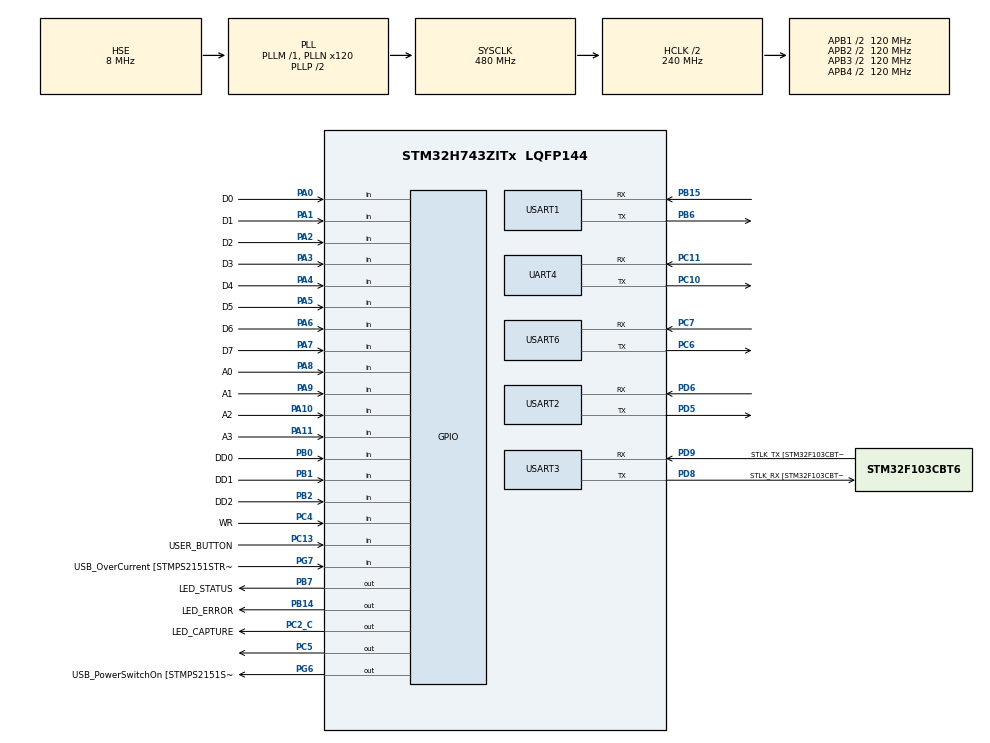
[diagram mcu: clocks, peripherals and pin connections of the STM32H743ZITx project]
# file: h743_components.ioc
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Dma.Request0=USART3_TX
Dma.Request1=USART3_RX
Dma.Request2=USART1_TX
Dma.Request3=USART1_RX
Dma.Request4=USART2_TX
Dma.Request5=USART2_RX
Dma.Request6=UART4_TX
Dma.Request7=UART4_RX
Dma.Request8=USART6_TX
Dma.Request9=USART6_RX
Dma.UART4_RX.7.Direction=DMA_PERIPH_TO_MEMORY
Dma.UART4_RX.7.EventEnable=DISABLE
Dma.UART4_RX.7.FIFOMode=DMA_FIFOMODE_DISABLE
Dma.UART4_RX.7.Instance=DMA1_Stream7
Dma.UART4_RX.7.MemDataAlignment=DMA_MDATAALIGN_BYTE
Dma.UART4_RX.7.MemInc=DMA_MINC_ENABLE
Dma.UART4_RX.7.Mode=DMA_CIRCULAR
Dma.UART4_RX.7.PeriphDataAlignment=DMA_PDATAALIGN_BYTE
Dma.UART4_RX.7.PeriphInc=DMA_PINC_DISABLE
Dma.UART4_RX.7.Polarity=HAL_DMAMUX_REQ_GEN_RISING
Dma.UART4_RX.7.Priority=DMA_PRIORITY_LOW
Dma.UART4_RX.7.RequestNumber=1
Dma.UART4_RX.7.SignalID=NONE
Dma.UART4_RX.7.SyncEnable=DISABLE
Dma.UART4_RX.7.SyncPolarity=HAL_DMAMUX_SYNC_NO_EVENT
Dma.UART4_RX.7.SyncRequestNumber=1
Dma.UART4_RX.7.SyncSignalID=NONE
Dma.UART4_TX.6.Direction=DMA_MEMORY_TO_PERIPH
Dma.UART4_TX.6.EventEnable=DISABLE
Dma.UART4_TX.6.FIFOMode=DMA_FIFOMODE_DISABLE
Dma.UART4_TX.6.Instance=DMA1_Stream6
Dma.UART4_TX.6.MemDataAlignment=DMA_MDATAALIGN_BYTE
Dma.UART4_TX.6.MemInc=DMA_MINC_ENABLE
Dma.UART4_TX.6.Mode=DMA_NORMAL
Dma.UART4_TX.6.PeriphDataAlignment=DMA_PDATAALIGN_BYTE
Dma.UART4_TX.6.PeriphInc=DMA_PINC_DISABLE
Dma.UART4_TX.6.Polarity=HAL_DMAMUX_REQ_GEN_RISING
Dma.UART4_TX.6.Priority=DMA_PRIORITY_LOW
Dma.UART4_TX.6.RequestNumber=1
Dma.UART4_TX.6.SignalID=NONE
Dma.UART4_TX.6.SyncEnable=DISABLE
Dma.UART4_TX.6.SyncPolarity=HAL_DMAMUX_SYNC_NO_EVENT
Dma.UART4_TX.6.SyncRequestNumber=1
Dma.UART4_TX.6.SyncSignalID=NONE
Dma.USART1_RX.3.Direction=DMA_PERIPH_TO_MEMORY
Dma.USART1_RX.3.EventEnable=DISABLE
Dma.USART1_RX.3.FIFOMode=DMA_FIFOMODE_DISABLE
Dma.USART1_RX.3.Instance=DMA1_Stream2
Dma.USART1_RX.3.MemDataAlignment=DMA_MDATAALIGN_BYTE
Dma.USART1_RX.3.MemInc=DMA_MINC_ENABLE
Dma.USART1_RX.3.Mode=DMA_CIRCULAR
Dma.USART1_RX.3.PeriphDataAlignment=DMA_PDATAALIGN_BYTE
Dma.USART1_RX.3.PeriphInc=DMA_PINC_DISABLE
Dma.USART1_RX.3.Polarity=HAL_DMAMUX_REQ_GEN_RISING
Dma.USART1_RX.3.Priority=DMA_PRIORITY_LOW
Dma.USART1_RX.3.RequestNumber=1
Dma.USART1_RX.3.SignalID=NONE
Dma.USART1_RX.3.SyncEnable=DISABLE
Dma.USART1_RX.3.SyncPolarity=HAL_DMAMUX_SYNC_NO_EVENT
Dma.USART1_RX.3.SyncRequestNumber=1
Dma.USART1_RX.3.SyncSignalID=NONE
Dma.USART1_TX.2.Direction=DMA_MEMORY_TO_PERIPH
Dma.USART1_TX.2.EventEnable=DISABLE
Dma.USART1_TX.2.FIFOMode=DMA_FIFOMODE_DISABLE
Dma.USART1_TX.2.Instance=DMA1_Stream1
Dma.USART1_TX.2.MemDataAlignment=DMA_MDATAALIGN_BYTE
Dma.USART1_TX.2.MemInc=DMA_MINC_ENABLE
Dma.USART1_TX.2.Mode=DMA_NORMAL
Dma.USART1_TX.2.PeriphDataAlignment=DMA_PDATAALIGN_BYTE
Dma.USART1_TX.2.PeriphInc=DMA_PINC_DISABLE
Dma.USART1_TX.2.Polarity=HAL_DMAMUX_REQ_GEN_RISING
Dma.USART1_TX.2.Priority=DMA_PRIORITY_LOW
Dma.USART1_TX.2.RequestNumber=1
Dma.USART1_TX.2.SignalID=NONE
Dma.USART1_TX.2.SyncEnable=DISABLE
Dma.USART1_TX.2.SyncPolarity=HAL_DMAMUX_SYNC_NO_EVENT
Dma.USART1_TX.2.SyncRequestNumber=1
Dma.USART1_TX.2.SyncSignalID=NONE
Dma.USART2_RX.5.Direction=DMA_PERIPH_TO_MEMORY
Dma.USART2_RX.5.EventEnable=DISABLE
Dma.USART2_RX.5.FIFOMode=DMA_FIFOMODE_DISABLE
Dma.USART2_RX.5.Instance=DMA1_Stream5
Dma.USART2_RX.5.MemDataAlignment=DMA_MDATAALIGN_BYTE
Dma.USART2_RX.5.MemInc=DMA_MINC_ENABLE
Dma.USART2_RX.5.Mode=DMA_CIRCULAR
Dma.USART2_RX.5.PeriphDataAlignment=DMA_PDATAALIGN_BYTE
Dma.USART2_RX.5.PeriphInc=DMA_PINC_DISABLE
Dma.USART2_RX.5.Polarity=HAL_DMAMUX_REQ_GEN_RISING
Dma.USART2_RX.5.Priority=DMA_PRIORITY_LOW
Dma.USART2_RX.5.RequestNumber=1
Dma.USART2_RX.5.SignalID=NONE
Dma.USART2_RX.5.SyncEnable=DISABLE
Dma.USART2_RX.5.SyncPolarity=HAL_DMAMUX_SYNC_NO_EVENT
Dma.USART2_RX.5.SyncRequestNumber=1
Dma.USART2_RX.5.SyncSignalID=NONE
Dma.USART2_TX.4.Direction=DMA_MEMORY_TO_PERIPH
Dma.USART2_TX.4.EventEnable=DISABLE
Dma.USART2_TX.4.FIFOMode=DMA_FIFOMODE_DISABLE
Dma.USART2_TX.4.Instance=DMA1_Stream4
Dma.USART2_TX.4.MemDataAlignment=DMA_MDATAALIGN_BYTE
Dma.USART2_TX.4.MemInc=DMA_MINC_ENABLE
Dma.USART2_TX.4.Mode=DMA_NORMAL
Dma.USART2_TX.4.PeriphDataAlignment=DMA_PDATAALIGN_BYTE
Dma.USART2_TX.4.PeriphInc=DMA_PINC_DISABLE
Dma.USART2_TX.4.Polarity=HAL_DMAMUX_REQ_GEN_RISING
Dma.USART2_TX.4.Priority=DMA_PRIORITY_LOW
Dma.USART2_TX.4.RequestNumber=1
Dma.USART2_TX.4.SignalID=NONE
Dma.USART2_TX.4.SyncEnable=DISABLE
Dma.USART2_TX.4.SyncPolarity=HAL_DMAMUX_SYNC_NO_EVENT
Dma.USART2_TX.4.SyncRequestNumber=1
Dma.USART2_TX.4.SyncSignalID=NONE
Dma.USART3_RX.1.Direction=DMA_PERIPH_TO_MEMORY
Dma.USART3_RX.1.EventEnable=DISABLE
Dma.USART3_RX.1.FIFOMode=DMA_FIFOMODE_DISABLE
Dma.USART3_RX.1.Instance=DMA1_Stream0
Dma.USART3_RX.1.MemDataAlignment=DMA_MDATAALIGN_BYTE
Dma.USART3_RX.1.MemInc=DMA_MINC_ENABLE
Dma.USART3_RX.1.Mode=DMA_CIRCULAR
Dma.USART3_RX.1.PeriphDataAlignment=DMA_PDATAALIGN_BYTE
Dma.USART3_RX.1.PeriphInc=DMA_PINC_DISABLE
Dma.USART3_RX.1.Polarity=HAL_DMAMUX_REQ_GEN_RISING
Dma.USART3_RX.1.Priority=DMA_PRIORITY_LOW
Dma.USART3_RX.1.RequestNumber=1
Dma.USART3_RX.1.SignalID=NONE
Dma.USART3_RX.1.SyncEnable=DISABLE
Dma.USART3_RX.1.SyncPolarity=HAL_DMAMUX_SYNC_NO_EVENT
Dma.USART3_RX.1.SyncRequestNumber=1
Dma.USART3_RX.1.SyncSignalID=NONE
Dma.USART3_TX.0.Direction=DMA_MEMORY_TO_PERIPH
Dma.USART3_TX.0.EventEnable=DISABLE
Dma.USART3_TX.0.FIFOMode=DMA_FIFOMODE_DISABLE
Dma.USART3_TX.0.Instance=DMA1_Stream3
Dma.USART3_TX.0.MemDataAlignment=DMA_MDATAALIGN_BYTE
Dma.USART3_TX.0.MemInc=DMA_MINC_ENABLE
Dma.USART3_TX.0.Mode=DMA_NORMAL
Dma.USART3_TX.0.PeriphDataAlignment=DMA_PDATAALIGN_BYTE
Dma.USART3_TX.0.PeriphInc=DMA_PINC_DISABLE
Dma.USART3_TX.0.Polarity=HAL_DMAMUX_REQ_GEN_RISING
Dma.USART3_TX.0.Priority=DMA_PRIORITY_LOW
Dma.USART3_TX.0.RequestNumber=1
Dma.USART3_TX.0.SignalID=NONE
Dma.USART3_TX.0.SyncEnable=DISABLE
Dma.USART3_TX.0.SyncPolarity=HAL_DMAMUX_SYNC_NO_EVENT
Dma.USART3_TX.0.SyncRequestNumber=1
Dma.USART3_TX.0.SyncSignalID=NONE
Dma.USART6_RX.9.Direction=DMA_PERIPH_TO_MEMORY
Dma.USART6_RX.9.EventEnable=DISABLE
Dma.USART6_RX.9.FIFOMode=DMA_FIFOMODE_DISABLE
Dma.USART6_RX.9.Instance=DMA2_Stream1
Dma.USART6_RX.9.MemDataAlignment=DMA_MDATAALIGN_BYTE
Dma.USART6_RX.9.MemInc=DMA_MINC_ENABLE
Dma.USART6_RX.9.Mode=DMA_CIRCULAR
Dma.USART6_RX.9.PeriphDataAlignment=DMA_PDATAALIGN_BYTE
Dma.USART6_RX.9.PeriphInc=DMA_PINC_DISABLE
Dma.USART6_RX.9.Polarity=HAL_DMAMUX_REQ_GEN_RISING
Dma.USART6_RX.9.Priority=DMA_PRIORITY_LOW
Dma.USART6_RX.9.RequestNumber=1
Dma.USART6_RX.9.SignalID=NONE
Dma.USART6_RX.9.SyncEnable=DISABLE
Dma.USART6_RX.9.SyncPolarity=HAL_DMAMUX_SYNC_NO_EVENT
Dma.USART6_RX.9.SyncRequestNumber=1
Dma.USART6_RX.9.SyncSignalID=NONE
Dma.USART6_TX.8.Direction=DMA_MEMORY_TO_PERIPH
Dma.USART6_TX.8.EventEnable=DISABLE
Dma.USART6_TX.8.FIFOMode=DMA_FIFOMODE_DISABLE
Dma.USART6_TX.8.Instance=DMA2_Stream0
Dma.USART6_TX.8.MemDataAlignment=DMA_MDATAALIGN_BYTE
Dma.USART6_TX.8.MemInc=DMA_MINC_ENABLE
Dma.USART6_TX.8.Mode=DMA_NORMAL
Dma.USART6_TX.8.PeriphDataAlignment=DMA_PDATAALIGN_BYTE
Dma.USART6_TX.8.PeriphInc=DMA_PINC_DISABLE
Dma.USART6_TX.8.Polarity=HAL_DMAMUX_REQ_GEN_RISING
Dma.USART6_TX.8.Priority=DMA_PRIORITY_LOW
Dma.USART6_TX.8.RequestNumber=1
Dma.USART6_TX.8.SignalID=NONE
Dma.USART6_TX.8.SyncEnable=DISABLE
Dma.USART6_TX.8.SyncPolarity=HAL_DMAMUX_SYNC_NO_EVENT
Dma.USART6_TX.8.SyncRequestNumber=1
Dma.USART6_TX.8.SyncSignalID=NONE
Mcu.Family=STM32H7
Mcu.Name=STM32H743ZITx
Mcu.Package=LQFP144
NVIC.DMA1_Stream0_IRQn=true\:0\:0\:false\:false\:true\:false\:true
NVIC.DMA1_Stream1_IRQn=true\:0\:0\:false\:false\:true\:false\:true
NVIC.DMA1_Stream2_IRQn=true\:0\:0\:false\:false\:true\:false\:true
NVIC.DMA1_Stream3_IRQn=true\:0\:0\:false\:false\:true\:false\:true
NVIC.DMA1_Stream4_IRQn=true\:0\:0\:false\:false\:true\:false\:true
NVIC.DMA1_Stream5_IRQn=true\:0\:0\:false\:false\:true\:false\:true
NVIC.DMA1_Stream6_IRQn=true\:0\:0\:false\:false\:true\:false\:true
NVIC.DMA1_Stream7_IRQn=true\:0\:0\:false\:false\:true\:false\:true
NVIC.DMA2_Stream0_IRQn=true\:0\:0\:false\:false\:true\:false\:true
NVIC.DMA2_Stream1_IRQn=true\:0\:0\:false\:false\:true\:false\:true
NVIC.PriorityGroup=NVIC_PRIORITYGROUP_4
NVIC.UART4_IRQn=true\:0\:0\:false\:false\:true\:true\:true
NVIC.USART1_IRQn=true\:0\:0\:false\:false\:true\:true\:true
NVIC.USART2_IRQn=true\:0\:0\:false\:false\:true\:true\:true
NVIC.USART3_IRQn=true\:0\:0\:false\:false\:true\:true\:true
NVIC.USART6_IRQn=true\:0\:0\:false\:false\:true\:true\:true
PA0.GPIO_Label=D0
PA0.GPIO_PuPd=GPIO_NOPULL
PA0.Signal=GPIO_Input
PA1.GPIO_Label=D1
PA1.GPIO_PuPd=GPIO_NOPULL
PA1.Signal=GPIO_Input
PA10.GPIO_Label=A2
PA10.Signal=GPIO_Input
PA11.GPIO_Label=A3
PA11.Signal=GPIO_Input
PA12.GPIO_Label=USB_DP
PA12.Signal=USB_OTG_FS_DP
PA2.GPIO_Label=D2
PA2.GPIO_PuPd=GPIO_NOPULL
PA2.Signal=GPIO_Input
PA3.GPIO_Label=D3
PA3.Signal=GPIO_Input
PA4.GPIO_Label=D4
PA4.Signal=GPIO_Input
PA5.GPIO_Label=D5
PA5.Signal=GPIO_Input
PA6.GPIO_Label=D6
PA6.Signal=GPIO_Input
PA7.GPIO_Label=D7
PA7.Signal=GPIO_Input
PA8.GPIO_Label=A0
PA8.Signal=GPIO_Input
PA9.GPIO_Label=A1
PA9.Signal=GPIO_Input
PB0.GPIO_Label=DD0
PB0.GPIO_PuPd=GPIO_PULLUP
PB0.Signal=GPIO_Input
PB1.GPIO_Label=DD1
PB1.GPIO_PuPd=GPIO_PULLUP
PB1.Signal=GPIO_Input
PB13.GPIO_Label=RMII_TXD1
PB13.Signal=ETH_TXD1
PB14.GPIO_Label=LED_ERROR
PB14.GPIO_Speed=GPIO_SPEED_FREQ_VERY_HIGH
PB14.Signal=GPIO_Output
PB15.Mode=Asynchronous
PB15.Signal=USART1_RX
PB2.GPIO_Label=DD2
PB2.GPIO_PuPd=GPIO_PULLUP
PB2.Signal=GPIO_Input
PB6.Mode=Asynchronous
PB6.Signal=USART1_TX
PB7.GPIO_FM7=SYSCFG_PMCR_I2C_PB7_FMP
PB7.GPIO_Label=LED_STATUS
PB7.GPIO_Speed=GPIO_SPEED_FREQ_VERY_HIGH
PB7.Signal=GPIO_Output
PC1.GPIO_Label=RMII_MDC
PC1.Signal=ETH_MDC
PC10.Mode=Asynchronous
PC10.Signal=UART4_TX
PC11.Mode=Asynchronous
PC11.Signal=UART4_RX
PC13.GPIO_Label=USER_BUTTON
PC13.Signal=GPIO_Input
PC14-OSC32_IN\ (OSC32_IN).Mode=LSE-External-Oscillator
PC14-OSC32_IN\ (OSC32_IN).Signal=RCC_OSC32_IN
PC15-OSC32_OUT\ (OSC32_OUT).Mode=LSE-External-Oscillator
PC15-OSC32_OUT\ (OSC32_OUT).Signal=RCC_OSC32_OUT
PC2_C.GPIO_Label=LED_CAPTURE
PC2_C.GPIO_Speed=GPIO_SPEED_FREQ_VERY_HIGH
PC2_C.Signal=GPIO_Output
PC4.GPIO_Label=WR
PC4.GPIO_PuPd=GPIO_PULLUP
PC4.Signal=GPIO_Input
PC5.Signal=GPIO_Output
PC6.Mode=Asynchronous
PC6.Signal=USART6_TX
PC7.Mode=Asynchronous
PC7.Signal=USART6_RX
PD5.Mode=Asynchronous
PD5.Signal=USART2_TX
PD6.Mode=Asynchronous
PD6.Signal=USART2_RX
PD8.GPIO_Label=STLK_RX [STM32F103CBT6_PA3]
PD8.Mode=Asynchronous
PD8.Signal=USART3_TX
PD9.GPIO_Label=STLK_TX [STM32F103CBT6_PA2]
PD9.Mode=Asynchronous
PD9.Signal=USART3_RX
PG11.GPIO_Label=RMII_TX_EN
PG11.Signal=ETH_TX_EN
PG13.GPIO_Label=RMII_TXD0
PG13.Signal=ETH_TXD0
PG6.GPIO_Label=USB_PowerSwitchOn [STMPS2151STR_EN]
PG6.Signal=GPIO_Output
PG7.GPIO_Label=USB_OverCurrent [STMPS2151STR_FAULT]
PG7.Signal=GPIO_Input
PH0-OSC_IN\ (PH0).GPIO_Label=MCO
PH0-OSC_IN\ (PH0).Mode=HSE-External-Clock-Source
PH0-OSC_IN\ (PH0).Signal=RCC_OSC_IN
PH1-OSC_OUT\ (PH1).Signal=RCC_OSC_OUT
ProjectManager.HeapSize=0x200
ProjectManager.StackSize=0x1000
ProjectManager.TargetToolchain=STM32CubeIDE
RCC.48MHZClocksFreq_Value=24000000
RCC.ADCFreq_Value=16125000
RCC.AHBFreq_Value=216000000
RCC.APB1CLKDivider=RCC_HCLK_DIV4
RCC.APB1Freq_Value=120000000
RCC.APB1TimFreq_Value=108000000
RCC.APB2CLKDivider=RCC_HCLK_DIV2
RCC.APB2Freq_Value=120000000
RCC.APB2TimFreq_Value=216000000
RCC.APB3Freq_Value=120000000
RCC.APB4Freq_Value=120000000
RCC.CortexFreq_Value=480000000
RCC.D1PPRE=RCC_APB3_DIV2
RCC.D2PPRE1=RCC_APB1_DIV2
RCC.D2PPRE2=RCC_APB2_DIV2
RCC.D3PPRE=RCC_APB4_DIV2
RCC.DIVM1=1
RCC.DIVN1=120
RCC.DIVQ1=4
RCC.HCLKFreq_Value=240000000
RCC.HPRE=RCC_HCLK_DIV2
RCC.HSE_VALUE=8000000
RCC.HSI_VALUE=64000000
RCC.PLLFRACN=0
RCC.PLLM=25
RCC.PLLMUL=RCC_PLL_MUL9
RCC.PLLN=432
RCC.PLLQ=9
RCC.PLLSourceVirtual=RCC_PLLSOURCE_HSE
RCC.PRESCALERUSB=RCC_USBCLKSOURCE_PLL_DIV1_5
RCC.PWR_Regulator_Voltage_Scale=PWR_REGULATOR_VOLTAGE_SCALE0
RCC.SYSCLKFreq_VALUE=480000000
RCC.SYSCLKSource=RCC_SYSCLKSOURCE_PLLCLK
RCC.SYSCLKSourceVirtual=RCC_SYSCLKSOURCE_PLLCLK
RCC.USBFreq_Value=240000000
RCC.VCOOutputFreq_Value=432000000
USART1.VirtualMode-Asynchronous=VM_ASYNC
USART2.VirtualMode-Asynchronous=VM_ASYNC
USART3.FIFOMode=FIFOMODE_DISABLE
USART3.VirtualMode-Asynchronous=VM_ASYNC
USART6.VirtualMode-Asynchronous=VM_ASYNC
board=NUCLEO-H743ZI

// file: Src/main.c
/* USER CODE BEGIN Header */
/*
 * Uart - tx - rx
 *   1    PB6  PB15
 *   2    PD5  PD6
 *   3    PD8  PD9   Uart debug
 *   4    PC10 PC11
 *   6    PC6  PC7
*/
/* USER CODE END Header */
#include "main.h"

/* USER CODE BEGIN Includes */
#include "app_config.h"
#include "serial1.h"
#include "serial2.h"
#include "serial3.h"
#include "serial4.h"
#include "serial6.h"
#include "ticker.h"
#include "frame.h"
#include "frame_com.h"
#include "uart_frame_app.h"
#include "app_uart_fifo.h"
#include "io_input.h"
#include "input_service.h"
#include "at_device.h"
#include "at_master.h"
#include "at_device_handle.h"
#include "at_master_handle.h"
#include "rfid_uart_dfu.h"
#include "serial_console_dbg.h"
/* USER CODE END Includes */

/* USER CODE BEGIN PD */
#define UART_FRAME_RX_BUFF_SIZE    FRAME_SIZE_MAX
#define UART_FRAME_TX_BUFF_SIZE    FRAME_SIZE_MAX
/* USER CODE END PD */

UART_HandleTypeDef huart4;
UART_HandleTypeDef huart1;
UART_HandleTypeDef huart2;
UART_HandleTypeDef huart3;
UART_HandleTypeDef huart6;
DMA_HandleTypeDef hdma_uart4_tx;
DMA_HandleTypeDef hdma_uart4_rx;
DMA_HandleTypeDef hdma_usart1_tx;
DMA_HandleTypeDef hdma_usart1_rx;
DMA_HandleTypeDef hdma_usart2_tx;
DMA_HandleTypeDef hdma_usart2_rx;
DMA_HandleTypeDef hdma_usart3_tx;
DMA_HandleTypeDef hdma_usart3_rx;
DMA_HandleTypeDef hdma_usart6_tx;
DMA_HandleTypeDef hdma_usart6_rx;

/* USER CODE BEGIN PV */
static frame_com_cxt_t frame_com_uart_cxt;
static at_cmd_cxt_t at_device_uart_cxt;
static at_master_cxt_t at_master_uart_cxt;
static at_cmd_callback_handle_t at_cmd_callback_handle;
static if_callback_handle_t if_callback_handle;

static io_input_cxt_t button_cxt = IO_INPUT_DEFAULT;
static service_io_input_handle_t button_service = SERVICE_IO_INPUT_DEFAULT;
static ticker_function_handle_t tick_button_sample;

static ticker_function_handle_t tick_led_status;

static uint8_t jig_process_enable = 0;

static char const *button_serviceid[] = {
/* 0 */"IO_INPUT_FALLING",
/* 1 */"IO_INPUT_RISING",
/* 2 */"BUTTON_SINGER_EVT",
/* 3 */"BUTTON_DOUBLE_EVT",
/* 4 */"BUTTON_HOLD_ON_EVT",
/* 5 */"BUTTON_IDLE_EVT" };

/* USER CODE END PV */

void SystemClock_Config(void);
static void MX_GPIO_Init(void);
static void MX_DMA_Init(void);
static void MX_USART3_UART_Init(void);
static void MX_USART1_UART_Init(void);
static void MX_USART2_UART_Init(void);
static void MX_UART4_Init(void);
static void MX_USART6_UART_Init(void);
/* USER CODE BEGIN PFP */
extern void uart_irq_init(void);
extern void uart_error_irq_process(UART_HandleTypeDef *huart,
		app_uart_irq_t irq_event);
extern void uart_tx_irq_process(UART_HandleTypeDef *huart,
		app_uart_irq_t irq_event);
extern void uart_rx_irq_process(UART_HandleTypeDef *huart,
		app_uart_irq_t irq_event);
/* USER CODE END PFP */

/* USER CODE BEGIN 0 */
void HAL_UART_ErrorCallback(UART_HandleTypeDef *huart) {
	uart_error_irq_process(huart, APP_UART_IRQ_ERROR);
}

void HAL_UART_TxCpltCallback(UART_HandleTypeDef *huart) {
	uart_tx_irq_process(huart, APP_UART_IRQ_TX);
}

void HAL_UART_RxCpltCallback(UART_HandleTypeDef *huart) {
	uart_rx_irq_process(huart, APP_UART_IRQ_RX);
}

void HAL_UART_RxHalfCpltCallback(UART_HandleTypeDef *huart) {
	uart_rx_irq_process(huart, APP_UART_IRQ_IDLE);
}

void USART_IDLE_line_IRQHandler(UART_HandleTypeDef *huart) {
	if (__HAL_UART_GET_FLAG(huart, UART_FLAG_IDLE)) {
		/* Clear IDLE line flag */
		__HAL_UART_CLEAR_IDLEFLAG(huart);

		uart_rx_irq_process(huart, APP_UART_IRQ_IDLE);
	}
}

static uint8_t jig_query(void)
{
  return (1 == jig_process_enable);
}

static void jig_setup(uint8_t jig)
{
  jig_process_enable = jig;
  if (jig)
  {
    DBG_PRINTF("\r\nJIG Enable");
  }
  else
  {
    DBG_PRINTF("\r\nJIG Disable");
  }

  DBG_PRINTF("\r\n");
}

static void led_status_blink_cb(uint32_t remain) {
	HAL_GPIO_TogglePin(GPIOB, LED_STATUS_Pin);
}

/*  */
static void button_sample_rate_cb(uint32_t remain) {
	uint8_t ip_status;
	(void) remain;

	ip_status = HAL_GPIO_ReadPin(USER_BUTTON_GPIO_Port, USER_BUTTON_Pin);
	io_input_process(&button_cxt, ip_status);
}

static void button_service_cb(service_io_input_handle_t *service, uint8_t evt) {
	DBG_PRINTF("\r\nButton service: %s", button_serviceid[evt]);
	DBG_PRINTF("\r\n");
	if (service == &button_service) {
		switch (evt) {
		case IO_INPUT_FALLING:
			break;

		case IO_INPUT_RISING:
			break;

		case BUTTON_SINGER_EVT:
			break;

		case BUTTON_DOUBLE_EVT:
			break;

		case BUTTON_HOLD_ON_EVT:
			break;

		case BUTTON_IDLE_EVT:
			break;

		default:
			break;
		}
	}
}

/* USER CODE END 0 */

int main(void)
{

  /* MCU Configuration--------------------------------------------------------*/

  /* Reset of all peripherals, Initializes the Flash interface and the Systick. */
  HAL_Init();

  /* Configure the system clock */
  SystemClock_Config();

  /* Initialize all configured peripherals */
  MX_GPIO_Init();
  MX_DMA_Init();
  MX_USART3_UART_Init();
  MX_USART1_UART_Init();
  MX_USART2_UART_Init();
  MX_UART4_Init();
  MX_USART6_UART_Init();
  /* USER CODE BEGIN 2 */

	uart_irq_init();

	/* Register serial frame interface */
	frame_com_uart_cxt.instance = FRAME_UART_INTERFACE;
	frame_com_uart_cxt.input_cb = read_uart_instance1;
	frame_com_uart_cxt.output_cb = write_uart_instance1;
	/* Init frame and process receive command callback function */
	FRAME_COM_INIT(&frame_com_uart_cxt, if_receive_cmd_callback,
			UART_FRAME_RX_BUFF_SIZE, UART_FRAME_TX_BUFF_SIZE);

	if_callback_handle.jig_query_cb = jig_query;  /* Register jig query */
  if_callback_handle.jig_setup_cb = jig_setup;  /* Register jig setup */
  if_callback_register(&if_callback_handle);

	/* Init at device handle */
  /*--------------------------------------------------------------------------*/
  at_device_uart_cxt.input_cb = read_uart_instance2;
  at_device_uart_cxt.output_cb = write_uart_instance2;
  at_device_uart_cxt.cmd_table = at_fun_handle;
  at_device_uart_cxt.cmd_num = AT_CMD_HANDLE_NUM;
  /* Init uart at command with 32 bytes buffer */
  AT_DEVICE_INIT(&at_device_uart_cxt, 32);

  at_cmd_callback_handle.jig_query_cb = jig_query;  /* Register jig query */
  at_cmd_callback_handle.jig_setup_cb = jig_setup;  /* Register jig setup */
  at_cmd_callback_register(&at_cmd_callback_handle);

  /* Init at master handle */
  /*--------------------------------------------------------------------------*/
  at_master_uart_cxt.input_cb = read_uart_instance6;
  at_master_uart_cxt.output_cb = write_uart_instance6;
  at_master_uart_cxt.cmd_table = at_fun_list;
  at_master_uart_cxt.monitor_table = monitor_list;
  at_master_uart_cxt.monitor_num = MONITOR_LIST_NUM;
  /* Init uart at command with 64 bytes buffer */
  AT_MASTER_INIT(&at_master_uart_cxt, 64);
#if (defined AT_MASTER_HANDLE_DEBUG) && (AT_MASTER_HANDLE_DEBUG == 1)
  at_master_handle_test(&at_master_uart_cxt);
#endif

  /* USER CODE END 2 */

  /* Infinite loop */
  /* USER CODE BEGIN WHILE */

	button_service.evt_cb = button_service_cb;
	button_service.edge_release = IO_FALLING;
	button_service.level_active = IO_HIGH;
	io_input_init(&button_cxt, 5, 5); /* 5 is high and low sample rate count*/
	service_io_input_init(&button_cxt, &button_service);
	/* Init tick sample rate 10ms */
	ticker_function_init(&tick_button_sample, button_sample_rate_cb, 10,
			TICKER_FOREVER);

	/* Init tick led status blink */
	ticker_function_init(&tick_led_status, led_status_blink_cb, 300,
			TICKER_FOREVER);

	DBG_PRINTF("\r\n[Huyht] Embedded Components Template V%u.%u.%u\r\n",
	      FW_VERSION_MAJOR, FW_VERSION_MINOR, FW_VERSION_BUILD);
	UART1_PRINTF("\r\nHello uart 1");
	UART1_PRINTF("\r\n");
	UART2_PRINTF("\r\nHello uart 2");
	UART2_PRINTF("\r\n");
	UART4_PRINTF("\r\nHello uart 4");
	UART4_PRINTF("\r\n");
	UART6_PRINTF("\r\nHello uart 6");
	UART6_PRINTF("\r\n");

	while (1) {
    /* timer ticker handler */
    ticker_loop();

    /* Interface handle */
    frame_com_process(&frame_com_uart_cxt);
    at_master_handle(&at_master_uart_cxt);
    at_device_handle(&at_device_uart_cxt);

    /* USER CODE END WHILE */

	}
}

void SystemClock_Config(void)
{
  RCC_OscInitTypeDef RCC_OscInitStruct = {0};
  RCC_ClkInitTypeDef RCC_ClkInitStruct = {0};
  RCC_PeriphCLKInitTypeDef PeriphClkInitStruct = {0};

  /** Supply configuration update enable
  */
  HAL_PWREx_ConfigSupply(PWR_LDO_SUPPLY);
  /** Configure the main internal regulator output voltage
  */
  __HAL_PWR_VOLTAGESCALING_CONFIG(PWR_REGULATOR_VOLTAGE_SCALE0);

  while(!__HAL_PWR_GET_FLAG(PWR_FLAG_VOSRDY)) {}
  /** Initializes the RCC Oscillators according to the specified parameters
  * in the RCC_OscInitTypeDef structure.
  */
  RCC_OscInitStruct.OscillatorType = RCC_OSCILLATORTYPE_HSE;
  RCC_OscInitStruct.HSEState = RCC_HSE_BYPASS;
  RCC_OscInitStruct.PLL.PLLState = RCC_PLL_ON;
  RCC_OscInitStruct.PLL.PLLSource = RCC_PLLSOURCE_HSE;
  RCC_OscInitStruct.PLL.PLLM = 1;
  RCC_OscInitStruct.PLL.PLLN = 120;
  RCC_OscInitStruct.PLL.PLLP = 2;
  RCC_OscInitStruct.PLL.PLLQ = 4;
  RCC_OscInitStruct.PLL.PLLR = 2;
  RCC_OscInitStruct.PLL.PLLRGE = RCC_PLL1VCIRANGE_3;
  RCC_OscInitStruct.PLL.PLLVCOSEL = RCC_PLL1VCOWIDE;
  RCC_OscInitStruct.PLL.PLLFRACN = 0;
  if (HAL_RCC_OscConfig(&RCC_OscInitStruct) != HAL_OK)
  {
    Error_Handler();
  }
  /** Initializes the CPU, AHB and APB buses clocks
  */
  RCC_ClkInitStruct.ClockType = RCC_CLOCKTYPE_HCLK|RCC_CLOCKTYPE_SYSCLK
                              |RCC_CLOCKTYPE_PCLK1|RCC_CLOCKTYPE_PCLK2
                              |RCC_CLOCKTYPE_D3PCLK1|RCC_CLOCKTYPE_D1PCLK1;
  RCC_ClkInitStruct.SYSCLKSource = RCC_SYSCLKSOURCE_PLLCLK;
  RCC_ClkInitStruct.SYSCLKDivider = RCC_SYSCLK_DIV1;
  RCC_ClkInitStruct.AHBCLKDivider = RCC_HCLK_DIV2;
  RCC_ClkInitStruct.APB3CLKDivider = RCC_APB3_DIV2;
  RCC_ClkInitStruct.APB1CLKDivider = RCC_APB1_DIV2;
  RCC_ClkInitStruct.APB2CLKDivider = RCC_APB2_DIV2;
  RCC_ClkInitStruct.APB4CLKDivider = RCC_APB4_DIV2;

  if (HAL_RCC_ClockConfig(&RCC_ClkInitStruct, FLASH_LATENCY_4) != HAL_OK)
  {
    Error_Handler();
  }
  PeriphClkInitStruct.PeriphClockSelection = RCC_PERIPHCLK_USART3|RCC_PERIPHCLK_USART2
                              |RCC_PERIPHCLK_UART4|RCC_PERIPHCLK_USART6
                              |RCC_PERIPHCLK_USART1;
  PeriphClkInitStruct.Usart234578ClockSelection = RCC_USART234578CLKSOURCE_D2PCLK1;
  PeriphClkInitStruct.Usart16ClockSelection = RCC_USART16CLKSOURCE_D2PCLK2;
  if (HAL_RCCEx_PeriphCLKConfig(&PeriphClkInitStruct) != HAL_OK)
  {
    Error_Handler();
  }
}

static void MX_UART4_Init(void)
{

  huart4.Instance = UART4;
  huart4.Init.BaudRate = 115200;
  huart4.Init.WordLength = UART_WORDLENGTH_8B;
  huart4.Init.StopBits = UART_STOPBITS_1;
  huart4.Init.Parity = UART_PARITY_NONE;
  huart4.Init.Mode = UART_MODE_TX_RX;
  huart4.Init.HwFlowCtl = UART_HWCONTROL_NONE;
  huart4.Init.OverSampling = UART_OVERSAMPLING_16;
  huart4.Init.OneBitSampling = UART_ONE_BIT_SAMPLE_DISABLE;
  huart4.Init.ClockPrescaler = UART_PRESCALER_DIV1;
  huart4.AdvancedInit.AdvFeatureInit = UART_ADVFEATURE_NO_INIT;
  if (HAL_UART_Init(&huart4) != HAL_OK)
  {
    Error_Handler();
  }
  if (HAL_UARTEx_SetTxFifoThreshold(&huart4, UART_TXFIFO_THRESHOLD_1_8) != HAL_OK)
  {
    Error_Handler();
  }
  if (HAL_UARTEx_SetRxFifoThreshold(&huart4, UART_RXFIFO_THRESHOLD_1_8) != HAL_OK)
  {
    Error_Handler();
  }
  if (HAL_UARTEx_DisableFifoMode(&huart4) != HAL_OK)
  {
    Error_Handler();
  }

}

static void MX_USART1_UART_Init(void)
{

  huart1.Instance = USART1;
  huart1.Init.BaudRate = 115200;
  huart1.Init.WordLength = UART_WORDLENGTH_8B;
  huart1.Init.StopBits = UART_STOPBITS_1;
  huart1.Init.Parity = UART_PARITY_NONE;
  huart1.Init.Mode = UART_MODE_TX_RX;
  huart1.Init.HwFlowCtl = UART_HWCONTROL_NONE;
  huart1.Init.OverSampling = UART_OVERSAMPLING_16;
  huart1.Init.OneBitSampling = UART_ONE_BIT_SAMPLE_DISABLE;
  huart1.Init.ClockPrescaler = UART_PRESCALER_DIV1;
  huart1.AdvancedInit.AdvFeatureInit = UART_ADVFEATURE_NO_INIT;
  if (HAL_UART_Init(&huart1) != HAL_OK)
  {
    Error_Handler();
  }
  if (HAL_UARTEx_SetTxFifoThreshold(&huart1, UART_TXFIFO_THRESHOLD_1_8) != HAL_OK)
  {
    Error_Handler();
  }
  if (HAL_UARTEx_SetRxFifoThreshold(&huart1, UART_RXFIFO_THRESHOLD_1_8) != HAL_OK)
  {
    Error_Handler();
  }
  if (HAL_UARTEx_DisableFifoMode(&huart1) != HAL_OK)
  {
    Error_Handler();
  }

}

static void MX_USART2_UART_Init(void)
{

  huart2.Instance = USART2;
  huart2.Init.BaudRate = 115200;
  huart2.Init.WordLength = UART_WORDLENGTH_8B;
  huart2.Init.StopBits = UART_STOPBITS_1;
  huart2.Init.Parity = UART_PARITY_NONE;
  huart2.Init.Mode = UART_MODE_TX_RX;
  huart2.Init.HwFlowCtl = UART_HWCONTROL_NONE;
  huart2.Init.OverSampling = UART_OVERSAMPLING_16;
  huart2.Init.OneBitSampling = UART_ONE_BIT_SAMPLE_DISABLE;
  huart2.Init.ClockPrescaler = UART_PRESCALER_DIV1;
  huart2.AdvancedInit.AdvFeatureInit = UART_ADVFEATURE_NO_INIT;
  if (HAL_UART_Init(&huart2) != HAL_OK)
  {
    Error_Handler();
  }
  if (HAL_UARTEx_SetTxFifoThreshold(&huart2, UART_TXFIFO_THRESHOLD_1_8) != HAL_OK)
  {
    Error_Handler();
  }
  if (HAL_UARTEx_SetRxFifoThreshold(&huart2, UART_RXFIFO_THRESHOLD_1_8) != HAL_OK)
  {
    Error_Handler();
  }
  if (HAL_UARTEx_DisableFifoMode(&huart2) != HAL_OK)
  {
    Error_Handler();
  }

}

static void MX_USART3_UART_Init(void)
{

  huart3.Instance = USART3;
  huart3.Init.BaudRate = 115200;
  huart3.Init.WordLength = UART_WORDLENGTH_8B;
  huart3.Init.StopBits = UART_STOPBITS_1;
  huart3.Init.Parity = UART_PARITY_NONE;
  huart3.Init.Mode = UART_MODE_TX_RX;
  huart3.Init.HwFlowCtl = UART_HWCONTROL_NONE;
  huart3.Init.OverSampling = UART_OVERSAMPLING_16;
  huart3.Init.OneBitSampling = UART_ONE_BIT_SAMPLE_DISABLE;
  huart3.Init.ClockPrescaler = UART_PRESCALER_DIV1;
  huart3.AdvancedInit.AdvFeatureInit = UART_ADVFEATURE_NO_INIT;
  if (HAL_UART_Init(&huart3) != HAL_OK)
  {
    Error_Handler();
  }
  if (HAL_UARTEx_SetTxFifoThreshold(&huart3, UART_TXFIFO_THRESHOLD_1_8) != HAL_OK)
  {
    Error_Handler();
  }
  if (HAL_UARTEx_SetRxFifoThreshold(&huart3, UART_RXFIFO_THRESHOLD_1_8) != HAL_OK)
  {
    Error_Handler();
  }
  if (HAL_UARTEx_DisableFifoMode(&huart3) != HAL_OK)
  {
    Error_Handler();
  }

}

static void MX_USART6_UART_Init(void)
{

  huart6.Instance = USART6;
  huart6.Init.BaudRate = 115200;
  huart6.Init.WordLength = UART_WORDLENGTH_8B;
  huart6.Init.StopBits = UART_STOPBITS_1;
  huart6.Init.Parity = UART_PARITY_NONE;
  huart6.Init.Mode = UART_MODE_TX_RX;
  huart6.Init.HwFlowCtl = UART_HWCONTROL_NONE;
  huart6.Init.OverSampling = UART_OVERSAMPLING_16;
  huart6.Init.OneBitSampling = UART_ONE_BIT_SAMPLE_DISABLE;
  huart6.Init.ClockPrescaler = UART_PRESCALER_DIV1;
  huart6.AdvancedInit.AdvFeatureInit = UART_ADVFEATURE_NO_INIT;
  if (HAL_UART_Init(&huart6) != HAL_OK)
  {
    Error_Handler();
  }
  if (HAL_UARTEx_SetTxFifoThreshold(&huart6, UART_TXFIFO_THRESHOLD_1_8) != HAL_OK)
  {
    Error_Handler();
  }
  if (HAL_UARTEx_SetRxFifoThreshold(&huart6, UART_RXFIFO_THRESHOLD_1_8) != HAL_OK)
  {
    Error_Handler();
  }
  if (HAL_UARTEx_DisableFifoMode(&huart6) != HAL_OK)
  {
    Error_Handler();
  }

}

static void MX_DMA_Init(void)
{

  /* DMA controller clock enable */
  __HAL_RCC_DMA1_CLK_ENABLE();
  __HAL_RCC_DMA2_CLK_ENABLE();

  /* DMA interrupt init */
  /* DMA1_Stream0_IRQn interrupt configuration */
  HAL_NVIC_SetPriority(DMA1_Stream0_IRQn, 0, 0);
  HAL_NVIC_EnableIRQ(DMA1_Stream0_IRQn);
  /* DMA1_Stream1_IRQn interrupt configuration */
  HAL_NVIC_SetPriority(DMA1_Stream1_IRQn, 0, 0);
  HAL_NVIC_EnableIRQ(DMA1_Stream1_IRQn);
  /* DMA1_Stream2_IRQn interrupt configuration */
  HAL_NVIC_SetPriority(DMA1_Stream2_IRQn, 0, 0);
  HAL_NVIC_EnableIRQ(DMA1_Stream2_IRQn);
  /* DMA1_Stream3_IRQn interrupt configuration */
  HAL_NVIC_SetPriority(DMA1_Stream3_IRQn, 0, 0);
  HAL_NVIC_EnableIRQ(DMA1_Stream3_IRQn);
  /* DMA1_Stream4_IRQn interrupt configuration */
  HAL_NVIC_SetPriority(DMA1_Stream4_IRQn, 0, 0);
  HAL_NVIC_EnableIRQ(DMA1_Stream4_IRQn);
  /* DMA1_Stream5_IRQn interrupt configuration */
  HAL_NVIC_SetPriority(DMA1_Stream5_IRQn, 0, 0);
  HAL_NVIC_EnableIRQ(DMA1_Stream5_IRQn);
  /* DMA1_Stream6_IRQn interrupt configuration */
  HAL_NVIC_SetPriority(DMA1_Stream6_IRQn, 0, 0);
  HAL_NVIC_EnableIRQ(DMA1_Stream6_IRQn);
  /* DMA1_Stream7_IRQn interrupt configuration */
  HAL_NVIC_SetPriority(DMA1_Stream7_IRQn, 0, 0);
  HAL_NVIC_EnableIRQ(DMA1_Stream7_IRQn);
  /* DMA2_Stream0_IRQn interrupt configuration */
  HAL_NVIC_SetPriority(DMA2_Stream0_IRQn, 0, 0);
  HAL_NVIC_EnableIRQ(DMA2_Stream0_IRQn);
  /* DMA2_Stream1_IRQn interrupt configuration */
  HAL_NVIC_SetPriority(DMA2_Stream1_IRQn, 0, 0);
  HAL_NVIC_EnableIRQ(DMA2_Stream1_IRQn);

}

static void MX_GPIO_Init(void)
{
  GPIO_InitTypeDef GPIO_InitStruct = {0};

  /* GPIO Ports Clock Enable */
  __HAL_RCC_GPIOC_CLK_ENABLE();
  __HAL_RCC_GPIOH_CLK_ENABLE();
  __HAL_RCC_GPIOA_CLK_ENABLE();
  __HAL_RCC_GPIOB_CLK_ENABLE();
  __HAL_RCC_GPIOD_CLK_ENABLE();
  __HAL_RCC_GPIOG_CLK_ENABLE();

  /*Configure GPIO pin Output Level */
  HAL_GPIO_WritePin(GPIOC, LED_CAPTURE_Pin|GPIO_PIN_5, GPIO_PIN_RESET);

  /*Configure GPIO pin Output Level */
  HAL_GPIO_WritePin(GPIOB, LED_ERROR_Pin|LED_STATUS_Pin, GPIO_PIN_RESET);

  /*Configure GPIO pin Output Level */
  HAL_GPIO_WritePin(USB_PowerSwitchOn_GPIO_Port, USB_PowerSwitchOn_Pin, GPIO_PIN_RESET);

  /*Configure GPIO pin : USER_BUTTON_Pin */
  GPIO_InitStruct.Pin = USER_BUTTON_Pin;
  GPIO_InitStruct.Mode = GPIO_MODE_INPUT;
  GPIO_InitStruct.Pull = GPIO_NOPULL;
  HAL_GPIO_Init(USER_BUTTON_GPIO_Port, &GPIO_InitStruct);

  /*Configure GPIO pin : RMII_MDC_Pin */
  GPIO_InitStruct.Pin = RMII_MDC_Pin;
  GPIO_InitStruct.Mode = GPIO_MODE_AF_PP;
  GPIO_InitStruct.Pull = GPIO_NOPULL;
  GPIO_InitStruct.Speed = GPIO_SPEED_FREQ_LOW;
  GPIO_InitStruct.Alternate = GPIO_AF11_ETH;
  HAL_GPIO_Init(RMII_MDC_GPIO_Port, &GPIO_InitStruct);

  /*Configure GPIO pin : LED_CAPTURE_Pin */
  GPIO_InitStruct.Pin = LED_CAPTURE_Pin;
  GPIO_InitStruct.Mode = GPIO_MODE_OUTPUT_PP;
  GPIO_InitStruct.Pull = GPIO_NOPULL;
  GPIO_InitStruct.Speed = GPIO_SPEED_FREQ_VERY_HIGH;
  HAL_GPIO_Init(LED_CAPTURE_GPIO_Port, &GPIO_InitStruct);

  /*Configure GPIO pins : D0_Pin D1_Pin D2_Pin D3_Pin
                           D4_Pin D5_Pin D6_Pin D7_Pin
                           A0_Pin A1_Pin A2_Pin A3_Pin */
  GPIO_InitStruct.Pin = D0_Pin|D1_Pin|D2_Pin|D3_Pin
                          |D4_Pin|D5_Pin|D6_Pin|D7_Pin
                          |A0_Pin|A1_Pin|A2_Pin|A3_Pin;
  GPIO_InitStruct.Mode = GPIO_MODE_INPUT;
  GPIO_InitStruct.Pull = GPIO_NOPULL;
  HAL_GPIO_Init(GPIOA, &GPIO_InitStruct);

  /*Configure GPIO pin : WR_Pin */
  GPIO_InitStruct.Pin = WR_Pin;
  GPIO_InitStruct.Mode = GPIO_MODE_INPUT;
  GPIO_InitStruct.Pull = GPIO_PULLUP;
  HAL_GPIO_Init(WR_GPIO_Port, &GPIO_InitStruct);

  /*Configure GPIO pin : PC5 */
  GPIO_InitStruct.Pin = GPIO_PIN_5;
  GPIO_InitStruct.Mode = GPIO_MODE_OUTPUT_PP;
  GPIO_InitStruct.Pull = GPIO_NOPULL;
  GPIO_InitStruct.Speed = GPIO_SPEED_FREQ_LOW;
  HAL_GPIO_Init(GPIOC, &GPIO_InitStruct);

  /*Configure GPIO pins : DD0_Pin DD1_Pin DD2_Pin */
  GPIO_InitStruct.Pin = DD0_Pin|DD1_Pin|DD2_Pin;
  GPIO_InitStruct.Mode = GPIO_MODE_INPUT;
  GPIO_InitStruct.Pull = GPIO_PULLUP;
  HAL_GPIO_Init(GPIOB, &GPIO_InitStruct);

  /*Configure GPIO pin : RMII_TXD1_Pin */
  GPIO_InitStruct.Pin = RMII_TXD1_Pin;
  GPIO_InitStruct.Mode = GPIO_MODE_AF_PP;
  GPIO_InitStruct.Pull = GPIO_NOPULL;
  GPIO_InitStruct.Speed = GPIO_SPEED_FREQ_LOW;
  GPIO_InitStruct.Alternate = GPIO_AF11_ETH;
  HAL_GPIO_Init(RMII_TXD1_GPIO_Port, &GPIO_InitStruct);

  /*Configure GPIO pins : LED_ERROR_Pin LED_STATUS_Pin */
  GPIO_InitStruct.Pin = LED_ERROR_Pin|LED_STATUS_Pin;
  GPIO_InitStruct.Mode = GPIO_MODE_OUTPUT_PP;
  GPIO_InitStruct.Pull = GPIO_NOPULL;
  GPIO_InitStruct.Speed = GPIO_SPEED_FREQ_VERY_HIGH;
  HAL_GPIO_Init(GPIOB, &GPIO_InitStruct);

  /*Configure GPIO pin : USB_PowerSwitchOn_Pin */
  GPIO_InitStruct.Pin = USB_PowerSwitchOn_Pin;
  GPIO_InitStruct.Mode = GPIO_MODE_OUTPUT_PP;
  GPIO_InitStruct.Pull = GPIO_NOPULL;
  GPIO_InitStruct.Speed = GPIO_SPEED_FREQ_LOW;
  HAL_GPIO_Init(USB_PowerSwitchOn_GPIO_Port, &GPIO_InitStruct);

  /*Configure GPIO pin : USB_OverCurrent_Pin */
  GPIO_InitStruct.Pin = USB_OverCurrent_Pin;
  GPIO_InitStruct.Mode = GPIO_MODE_INPUT;
  GPIO_InitStruct.Pull = GPIO_NOPULL;
  HAL_GPIO_Init(USB_OverCurrent_GPIO_Port, &GPIO_InitStruct);

  /*Configure GPIO pin : USB_DP_Pin */
  GPIO_InitStruct.Pin = USB_DP_Pin;
  GPIO_InitStruct.Mode = GPIO_MODE_AF_PP;
  GPIO_InitStruct.Pull = GPIO_NOPULL;
  GPIO_InitStruct.Speed = GPIO_SPEED_FREQ_LOW;
  GPIO_InitStruct.Alternate = GPIO_AF10_OTG1_FS;
  HAL_GPIO_Init(USB_DP_GPIO_Port, &GPIO_InitStruct);

  /*Configure GPIO pins : RMII_TX_EN_Pin RMII_TXD0_Pin */
  GPIO_InitStruct.Pin = RMII_TX_EN_Pin|RMII_TXD0_Pin;
  GPIO_InitStruct.Mode = GPIO_MODE_AF_PP;
  GPIO_InitStruct.Pull = GPIO_NOPULL;
  GPIO_InitStruct.Speed = GPIO_SPEED_FREQ_LOW;
  GPIO_InitStruct.Alternate = GPIO_AF11_ETH;
  HAL_GPIO_Init(GPIOG, &GPIO_InitStruct);

  /**/
  HAL_I2CEx_EnableFastModePlus(SYSCFG_PMCR_I2C_PB7_FMP);

}

void Error_Handler(void)
{
}

/************************ (C) COPYRIGHT STMicroelectronics *****END OF FILE****/
